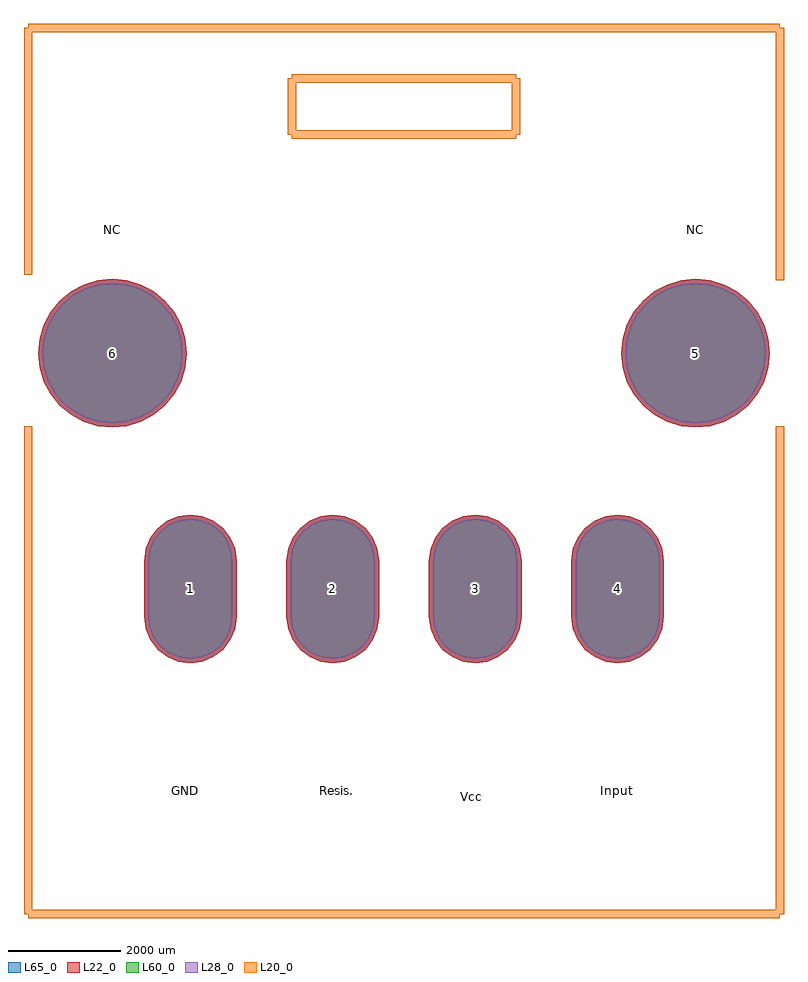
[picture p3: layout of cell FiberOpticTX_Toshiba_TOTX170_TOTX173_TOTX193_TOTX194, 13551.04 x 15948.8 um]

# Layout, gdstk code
import gdstk
lib = gdstk.Library(unit=1e-6, precision=1e-09)
def P(c, l, *ps):  # polygons
    for p in ps: c.add(gdstk.Polygon(p, *l))
L20_0 = (20, 0)
L22_0 = (22, 0)
L28_0 = (28, 0)
L60_0 = (60, 0)
L65_0 = (65, 0)

fiberoptictx_toshiba_tot = lib.new_cell('FiberOpticTX_Toshiba_TOTX170_TOTX173_TOTX193_TOTX194')
P(fiberoptictx_toshiba_tot, L22_0, [(-3874.7,2100.58),(-3900.153,2359.012),(-3975.535,2607.513),(-4097.949,2836.533),(-4262.69,3037.27),(-4463.427,3202.011),(-4692.447,3324.425),(-4940.948,3399.807),(-5199.38,3425.26),(-5457.812,3399.807),(-5706.313,3324.425),(-5935.333,3202.011),(-6136.07,3037.27),(-6300.811,2836.533),(-6423.225,2607.513),(-6498.607,2359.012),(-6524.06,2100.58),(-6498.607,1842.148),(-6423.225,1593.647),(-6300.811,1364.627),(-6136.07,1163.89),(-5935.333,999.149),(-5706.313,876.735),(-5457.812,801.353),(-5199.38,775.9),(-4940.948,801.353),(-4692.447,876.735),(-4463.427,999.149),(-4262.69,1163.89),(-4097.949,1364.627),(-3975.535,1593.647),(-3900.153,1842.148)],
  [(6524.06,2100.58),(6498.607,2359.012),(6423.225,2607.513),(6300.811,2836.533),(6136.07,3037.27),(5935.333,3202.011),(5706.313,3324.425),(5457.812,3399.807),(5199.38,3425.26),(4940.948,3399.807),(4692.447,3324.425),(4463.427,3202.011),(4262.69,3037.27),(4097.949,2836.533),(3975.535,2607.513),(3900.153,2359.012),(3874.7,2100.58),(3900.153,1842.148),(3975.535,1593.647),(4097.949,1364.627),(4262.69,1163.89),(4463.427,999.149),(4692.447,876.735),(4940.948,801.353),(5199.38,775.9),(5457.812,801.353),(5706.313,876.735),(5935.333,999.149),(6136.07,1163.89),(6300.811,1364.627),(6423.225,1593.647),(6498.607,1842.148)],
  [(3810,-3425.26),(4023.673,-3397.129),(4222.785,-3314.655),(4393.766,-3183.456),(4524.965,-3012.475),(4607.439,-2813.363),(4635.57,-2599.69),(4635.57,-1601.47),(4607.439,-1387.797),(4524.965,-1188.685),(4393.766,-1017.704),(4222.785,-886.505),(4023.673,-804.031),(3810,-775.9),(3596.327,-804.031),(3397.215,-886.505),(3226.234,-1017.704),(3095.035,-1188.685),(3012.561,-1387.797),(2984.43,-1601.47),(2984.43,-2599.69),(3012.561,-2813.363),(3095.035,-3012.475),(3226.234,-3183.456),(3397.215,-3314.655),(3596.327,-3397.129)],
  [(1270,-3425.26),(1483.673,-3397.129),(1682.785,-3314.655),(1853.766,-3183.456),(1984.965,-3012.475),(2067.439,-2813.363),(2095.57,-2599.69),(2095.57,-1601.47),(2067.439,-1387.797),(1984.965,-1188.685),(1853.766,-1017.704),(1682.785,-886.505),(1483.673,-804.031),(1270,-775.9),(1056.327,-804.031),(857.215,-886.505),(686.234,-1017.704),(555.035,-1188.685),(472.561,-1387.797),(444.43,-1601.47),(444.43,-2599.69),(472.561,-2813.363),(555.035,-3012.475),(686.234,-3183.456),(857.215,-3314.655),(1056.327,-3397.129)],
  [(-1270,-3425.26),(-1056.327,-3397.129),(-857.215,-3314.655),(-686.234,-3183.456),(-555.035,-3012.475),(-472.561,-2813.363),(-444.43,-2599.69),(-444.43,-1601.47),(-472.561,-1387.797),(-555.035,-1188.685),(-686.234,-1017.704),(-857.215,-886.505),(-1056.327,-804.031),(-1270,-775.9),(-1483.673,-804.031),(-1682.785,-886.505),(-1853.766,-1017.704),(-1984.965,-1188.685),(-2067.439,-1387.797),(-2095.57,-1601.47),(-2095.57,-2599.69),(-2067.439,-2813.363),(-1984.965,-3012.475),(-1853.766,-3183.456),(-1682.785,-3314.655),(-1483.673,-3397.129)],
  [(-3810,-3425.26),(-3596.327,-3397.129),(-3397.215,-3314.655),(-3226.234,-3183.456),(-3095.035,-3012.475),(-3012.561,-2813.363),(-2984.43,-2599.69),(-2984.43,-1601.47),(-3012.561,-1387.797),(-3095.035,-1188.685),(-3226.234,-1017.704),(-3397.215,-886.505),(-3596.327,-804.031),(-3810,-775.9),(-4023.673,-804.031),(-4222.785,-886.505),(-4393.766,-1017.704),(-4524.965,-1188.685),(-4607.439,-1387.797),(-4635.57,-1601.47),(-4635.57,-2599.69),(-4607.439,-2813.363),(-4524.965,-3012.475),(-4393.766,-3183.456),(-4222.785,-3314.655),(-4023.673,-3397.129)])
P(fiberoptictx_toshiba_tot, L28_0, [(-3949.7,2100.58),(-3973.712,2344.38),(-4044.826,2578.812),(-4160.309,2794.865),(-4315.723,2984.237),(-4505.095,3139.651),(-4721.148,3255.134),(-4955.58,3326.248),(-5199.38,3350.26),(-5443.18,3326.248),(-5677.612,3255.134),(-5893.665,3139.651),(-6083.037,2984.237),(-6238.451,2794.865),(-6353.934,2578.812),(-6425.048,2344.38),(-6449.06,2100.58),(-6425.048,1856.78),(-6353.934,1622.348),(-6238.451,1406.295),(-6083.037,1216.923),(-5893.665,1061.509),(-5677.612,946.026),(-5443.18,874.912),(-5199.38,850.9),(-4955.58,874.912),(-4721.148,946.026),(-4505.095,1061.509),(-4315.723,1216.923),(-4160.309,1406.295),(-4044.826,1622.348),(-3973.712,1856.78)],
  [(6449.06,2100.58),(6425.048,2344.38),(6353.934,2578.812),(6238.451,2794.865),(6083.037,2984.237),(5893.665,3139.651),(5677.612,3255.134),(5443.18,3326.248),(5199.38,3350.26),(4955.58,3326.248),(4721.148,3255.134),(4505.095,3139.651),(4315.723,2984.237),(4160.309,2794.865),(4044.826,2578.812),(3973.712,2344.38),(3949.7,2100.58),(3973.712,1856.78),(4044.826,1622.348),(4160.309,1406.295),(4315.723,1216.923),(4505.095,1061.509),(4721.148,946.026),(4955.58,874.912),(5199.38,850.9),(5443.18,874.912),(5677.612,946.026),(5893.665,1061.509),(6083.037,1216.923),(6238.451,1406.295),(6353.934,1622.348),(6425.048,1856.78)],
  [(3810,-3350.26),(4004.262,-3324.685),(4185.285,-3249.703),(4340.733,-3130.423),(4460.013,-2974.975),(4534.995,-2793.952),(4560.57,-2599.69),(4560.57,-1601.47),(4534.995,-1407.208),(4460.013,-1226.185),(4340.733,-1070.737),(4185.285,-951.457),(4004.262,-876.475),(3810,-850.9),(3615.738,-876.475),(3434.715,-951.457),(3279.267,-1070.737),(3159.987,-1226.185),(3085.005,-1407.208),(3059.43,-1601.47),(3059.43,-2599.69),(3085.005,-2793.952),(3159.987,-2974.975),(3279.267,-3130.423),(3434.715,-3249.703),(3615.738,-3324.685)],
  [(1270,-3350.26),(1464.262,-3324.685),(1645.285,-3249.703),(1800.733,-3130.423),(1920.013,-2974.975),(1994.995,-2793.952),(2020.57,-2599.69),(2020.57,-1601.47),(1994.995,-1407.208),(1920.013,-1226.185),(1800.733,-1070.737),(1645.285,-951.457),(1464.262,-876.475),(1270,-850.9),(1075.738,-876.475),(894.715,-951.457),(739.267,-1070.737),(619.987,-1226.185),(545.005,-1407.208),(519.43,-1601.47),(519.43,-2599.69),(545.005,-2793.952),(619.987,-2974.975),(739.267,-3130.423),(894.715,-3249.703),(1075.738,-3324.685)],
  [(-1270,-3350.26),(-1075.738,-3324.685),(-894.715,-3249.703),(-739.267,-3130.423),(-619.987,-2974.975),(-545.005,-2793.952),(-519.43,-2599.69),(-519.43,-1601.47),(-545.005,-1407.208),(-619.987,-1226.185),(-739.267,-1070.737),(-894.715,-951.457),(-1075.738,-876.475),(-1270,-850.9),(-1464.262,-876.475),(-1645.285,-951.457),(-1800.733,-1070.737),(-1920.013,-1226.185),(-1994.995,-1407.208),(-2020.57,-1601.47),(-2020.57,-2599.69),(-1994.995,-2793.952),(-1920.013,-2974.975),(-1800.733,-3130.423),(-1645.285,-3249.703),(-1464.262,-3324.685)],
  [(-3810,-3350.26),(-3615.738,-3324.685),(-3434.715,-3249.703),(-3279.267,-3130.423),(-3159.987,-2974.975),(-3085.005,-2793.952),(-3059.43,-2599.69),(-3059.43,-1601.47),(-3085.005,-1407.208),(-3159.987,-1226.185),(-3279.267,-1070.737),(-3434.715,-951.457),(-3615.738,-876.475),(-3810,-850.9),(-4004.262,-876.475),(-4185.285,-951.457),(-4340.733,-1070.737),(-4460.013,-1226.185),(-4534.995,-1407.208),(-4560.57,-1601.47),(-4560.57,-2599.69),(-4534.995,-2793.952),(-4460.013,-2974.975),(-4340.733,-3130.423),(-4185.285,-3249.703),(-4004.262,-3324.685)])
P(fiberoptictx_toshiba_tot, L60_0, [(-3949.7,2100.58),(-3973.712,2344.38),(-4044.826,2578.812),(-4160.309,2794.865),(-4315.723,2984.237),(-4505.095,3139.651),(-4721.148,3255.134),(-4955.58,3326.248),(-5199.38,3350.26),(-5443.18,3326.248),(-5677.612,3255.134),(-5893.665,3139.651),(-6083.037,2984.237),(-6238.451,2794.865),(-6353.934,2578.812),(-6425.048,2344.38),(-6449.06,2100.58),(-6425.048,1856.78),(-6353.934,1622.348),(-6238.451,1406.295),(-6083.037,1216.923),(-5893.665,1061.509),(-5677.612,946.026),(-5443.18,874.912),(-5199.38,850.9),(-4955.58,874.912),(-4721.148,946.026),(-4505.095,1061.509),(-4315.723,1216.923),(-4160.309,1406.295),(-4044.826,1622.348),(-3973.712,1856.78)],
  [(6449.06,2100.58),(6425.048,2344.38),(6353.934,2578.812),(6238.451,2794.865),(6083.037,2984.237),(5893.665,3139.651),(5677.612,3255.134),(5443.18,3326.248),(5199.38,3350.26),(4955.58,3326.248),(4721.148,3255.134),(4505.095,3139.651),(4315.723,2984.237),(4160.309,2794.865),(4044.826,2578.812),(3973.712,2344.38),(3949.7,2100.58),(3973.712,1856.78),(4044.826,1622.348),(4160.309,1406.295),(4315.723,1216.923),(4505.095,1061.509),(4721.148,946.026),(4955.58,874.912),(5199.38,850.9),(5443.18,874.912),(5677.612,946.026),(5893.665,1061.509),(6083.037,1216.923),(6238.451,1406.295),(6353.934,1622.348),(6425.048,1856.78)],
  [(3810,-3350.26),(4004.262,-3324.685),(4185.285,-3249.703),(4340.733,-3130.423),(4460.013,-2974.975),(4534.995,-2793.952),(4560.57,-2599.69),(4560.57,-1601.47),(4534.995,-1407.208),(4460.013,-1226.185),(4340.733,-1070.737),(4185.285,-951.457),(4004.262,-876.475),(3810,-850.9),(3615.738,-876.475),(3434.715,-951.457),(3279.267,-1070.737),(3159.987,-1226.185),(3085.005,-1407.208),(3059.43,-1601.47),(3059.43,-2599.69),(3085.005,-2793.952),(3159.987,-2974.975),(3279.267,-3130.423),(3434.715,-3249.703),(3615.738,-3324.685)],
  [(1270,-3350.26),(1464.262,-3324.685),(1645.285,-3249.703),(1800.733,-3130.423),(1920.013,-2974.975),(1994.995,-2793.952),(2020.57,-2599.69),(2020.57,-1601.47),(1994.995,-1407.208),(1920.013,-1226.185),(1800.733,-1070.737),(1645.285,-951.457),(1464.262,-876.475),(1270,-850.9),(1075.738,-876.475),(894.715,-951.457),(739.267,-1070.737),(619.987,-1226.185),(545.005,-1407.208),(519.43,-1601.47),(519.43,-2599.69),(545.005,-2793.952),(619.987,-2974.975),(739.267,-3130.423),(894.715,-3249.703),(1075.738,-3324.685)],
  [(-1270,-3350.26),(-1075.738,-3324.685),(-894.715,-3249.703),(-739.267,-3130.423),(-619.987,-2974.975),(-545.005,-2793.952),(-519.43,-2599.69),(-519.43,-1601.47),(-545.005,-1407.208),(-619.987,-1226.185),(-739.267,-1070.737),(-894.715,-951.457),(-1075.738,-876.475),(-1270,-850.9),(-1464.262,-876.475),(-1645.285,-951.457),(-1800.733,-1070.737),(-1920.013,-1226.185),(-1994.995,-1407.208),(-2020.57,-1601.47),(-2020.57,-2599.69),(-1994.995,-2793.952),(-1920.013,-2974.975),(-1800.733,-3130.423),(-1645.285,-3249.703),(-1464.262,-3324.685)],
  [(-3810,-3350.26),(-3615.738,-3324.685),(-3434.715,-3249.703),(-3279.267,-3130.423),(-3159.987,-2974.975),(-3085.005,-2793.952),(-3059.43,-2599.69),(-3059.43,-1601.47),(-3085.005,-1407.208),(-3159.987,-1226.185),(-3279.267,-1070.737),(-3434.715,-951.457),(-3615.738,-876.475),(-3810,-850.9),(-4004.262,-876.475),(-4185.285,-951.457),(-4340.733,-1070.737),(-4460.013,-1226.185),(-4534.995,-1407.208),(-4560.57,-1601.47),(-4560.57,-2599.69),(-4534.995,-2793.952),(-4460.013,-2974.975),(-4340.733,-3130.423),(-4185.285,-3249.703),(-4004.262,-3324.685)])
P(fiberoptictx_toshiba_tot, L65_0, [(-3874.7,2100.58),(-3900.153,2359.012),(-3975.535,2607.513),(-4097.949,2836.533),(-4262.69,3037.27),(-4463.427,3202.011),(-4692.447,3324.425),(-4940.948,3399.807),(-5199.38,3425.26),(-5457.812,3399.807),(-5706.313,3324.425),(-5935.333,3202.011),(-6136.07,3037.27),(-6300.811,2836.533),(-6423.225,2607.513),(-6498.607,2359.012),(-6524.06,2100.58),(-6498.607,1842.148),(-6423.225,1593.647),(-6300.811,1364.627),(-6136.07,1163.89),(-5935.333,999.149),(-5706.313,876.735),(-5457.812,801.353),(-5199.38,775.9),(-4940.948,801.353),(-4692.447,876.735),(-4463.427,999.149),(-4262.69,1163.89),(-4097.949,1364.627),(-3975.535,1593.647),(-3900.153,1842.148)],
  [(6524.06,2100.58),(6498.607,2359.012),(6423.225,2607.513),(6300.811,2836.533),(6136.07,3037.27),(5935.333,3202.011),(5706.313,3324.425),(5457.812,3399.807),(5199.38,3425.26),(4940.948,3399.807),(4692.447,3324.425),(4463.427,3202.011),(4262.69,3037.27),(4097.949,2836.533),(3975.535,2607.513),(3900.153,2359.012),(3874.7,2100.58),(3900.153,1842.148),(3975.535,1593.647),(4097.949,1364.627),(4262.69,1163.89),(4463.427,999.149),(4692.447,876.735),(4940.948,801.353),(5199.38,775.9),(5457.812,801.353),(5706.313,876.735),(5935.333,999.149),(6136.07,1163.89),(6300.811,1364.627),(6423.225,1593.647),(6498.607,1842.148)],
  [(3810,-3425.26),(4023.673,-3397.129),(4222.785,-3314.655),(4393.766,-3183.456),(4524.965,-3012.475),(4607.439,-2813.363),(4635.57,-2599.69),(4635.57,-1601.47),(4607.439,-1387.797),(4524.965,-1188.685),(4393.766,-1017.704),(4222.785,-886.505),(4023.673,-804.031),(3810,-775.9),(3596.327,-804.031),(3397.215,-886.505),(3226.234,-1017.704),(3095.035,-1188.685),(3012.561,-1387.797),(2984.43,-1601.47),(2984.43,-2599.69),(3012.561,-2813.363),(3095.035,-3012.475),(3226.234,-3183.456),(3397.215,-3314.655),(3596.327,-3397.129)],
  [(1270,-3425.26),(1483.673,-3397.129),(1682.785,-3314.655),(1853.766,-3183.456),(1984.965,-3012.475),(2067.439,-2813.363),(2095.57,-2599.69),(2095.57,-1601.47),(2067.439,-1387.797),(1984.965,-1188.685),(1853.766,-1017.704),(1682.785,-886.505),(1483.673,-804.031),(1270,-775.9),(1056.327,-804.031),(857.215,-886.505),(686.234,-1017.704),(555.035,-1188.685),(472.561,-1387.797),(444.43,-1601.47),(444.43,-2599.69),(472.561,-2813.363),(555.035,-3012.475),(686.234,-3183.456),(857.215,-3314.655),(1056.327,-3397.129)],
  [(-1270,-3425.26),(-1056.327,-3397.129),(-857.215,-3314.655),(-686.234,-3183.456),(-555.035,-3012.475),(-472.561,-2813.363),(-444.43,-2599.69),(-444.43,-1601.47),(-472.561,-1387.797),(-555.035,-1188.685),(-686.234,-1017.704),(-857.215,-886.505),(-1056.327,-804.031),(-1270,-775.9),(-1483.673,-804.031),(-1682.785,-886.505),(-1853.766,-1017.704),(-1984.965,-1188.685),(-2067.439,-1387.797),(-2095.57,-1601.47),(-2095.57,-2599.69),(-2067.439,-2813.363),(-1984.965,-3012.475),(-1853.766,-3183.456),(-1682.785,-3314.655),(-1483.673,-3397.129)],
  [(-3810,-3425.26),(-3596.327,-3397.129),(-3397.215,-3314.655),(-3226.234,-3183.456),(-3095.035,-3012.475),(-3012.561,-2813.363),(-2984.43,-2599.69),(-2984.43,-1601.47),(-3012.561,-1387.797),(-3095.035,-1188.685),(-3226.234,-1017.704),(-3397.215,-886.505),(-3596.327,-804.031),(-3810,-775.9),(-4023.673,-804.031),(-4222.785,-886.505),(-4393.766,-1017.704),(-4524.965,-1188.685),(-4607.439,-1387.797),(-4635.57,-1601.47),(-4635.57,-2599.69),(-4607.439,-2813.363),(-4524.965,-3012.475),(-4393.766,-3183.456),(-4222.785,-3314.655),(-4023.673,-3397.129)])
fiberoptictx_toshiba_tot.add(gdstk.FlexPath([(-6700.52,-7899.4),(6700.52,-7899.4)], 149.998, ends="flush", simple_path=True, layer=20, datatype=0))  # L20_0
fiberoptictx_toshiba_tot.add(gdstk.FlexPath([(6700.52,7899.4),(-6700.52,7899.4)], 149.998, ends="flush", simple_path=True, layer=20, datatype=0))  # L20_0
fiberoptictx_toshiba_tot.add(gdstk.FlexPath([(-1998.98,5999.48),(-1998.98,7000.24)], 149.998, ends="flush", simple_path=True, layer=20, datatype=0))  # L20_0
fiberoptictx_toshiba_tot.add(gdstk.FlexPath([(1998.98,5999.48),(-1998.98,5999.48)], 149.998, ends="flush", simple_path=True, layer=20, datatype=0))  # L20_0
fiberoptictx_toshiba_tot.add(gdstk.FlexPath([(1998.98,7000.24),(1998.98,5999.48)], 149.998, ends="flush", simple_path=True, layer=20, datatype=0))  # L20_0
fiberoptictx_toshiba_tot.add(gdstk.FlexPath([(-1998.98,7000.24),(1998.98,7000.24)], 149.998, ends="flush", simple_path=True, layer=20, datatype=0))  # L20_0
fiberoptictx_toshiba_tot.add(gdstk.FlexPath([(6700.52,7899.4),(6700.52,3401.06)], 149.998, ends="flush", simple_path=True, layer=20, datatype=0))  # L20_0
fiberoptictx_toshiba_tot.add(gdstk.FlexPath([(6700.52,-7899.4),(6700.52,800.1)], 149.998, ends="flush", simple_path=True, layer=20, datatype=0))  # L20_0
fiberoptictx_toshiba_tot.add(gdstk.FlexPath([(-6700.52,7899.4),(-6700.52,3500.12)], 149.998, ends="flush", simple_path=True, layer=20, datatype=0))  # L20_0
fiberoptictx_toshiba_tot.add(gdstk.FlexPath([(-6700.52,-7899.4),(-6700.52,800.1)], 149.998, ends="flush", simple_path=True, layer=20, datatype=0))  # L20_0
fiberoptictx_toshiba_tot.add(gdstk.Label('6', (-5199.38,2100.58), layer=28, texttype=0))
fiberoptictx_toshiba_tot.add(gdstk.Label('5', (5199.38,2100.58), layer=28, texttype=0))
fiberoptictx_toshiba_tot.add(gdstk.Label('4', (3810,-2100.58), layer=28, texttype=0))
fiberoptictx_toshiba_tot.add(gdstk.Label('3', (1270,-2100.58), layer=28, texttype=0))
fiberoptictx_toshiba_tot.add(gdstk.Label('2', (-1270,-2100.58), layer=28, texttype=0))
fiberoptictx_toshiba_tot.add(gdstk.Label('1', (-3810,-2100.58), layer=28, texttype=0))
fiberoptictx_toshiba_tot.add(gdstk.Label('Resis.', (-1198.88,-5699.76), layer=9, texttype=0))
fiberoptictx_toshiba_tot.add(gdstk.Label('GND', (-3898.9,-5699.76), layer=9, texttype=0))
fiberoptictx_toshiba_tot.add(gdstk.Label('Vcc', (1198.88,-5798.82), layer=9, texttype=0))
fiberoptictx_toshiba_tot.add(gdstk.Label('Input', (3799.84,-5699.76), layer=9, texttype=0))
fiberoptictx_toshiba_tot.add(gdstk.Label('NC', (-5199.38,4300.22), layer=9, texttype=0))
fiberoptictx_toshiba_tot.add(gdstk.Label('NC', (5199.38,4300.22), layer=9, texttype=0))
fiberoptictx_toshiba_tot.add(gdstk.Label('type', (0,-10899.14), layer=9, texttype=0))
fiberoptictx_toshiba_tot.add(gdstk.Label('devicename', (99.06,10299.7), layer=9, texttype=0))

lib.write_gds('FiberOpticTX_Toshiba_TOTX170_TOTX173_TOTX193_TOTX194.gds')
